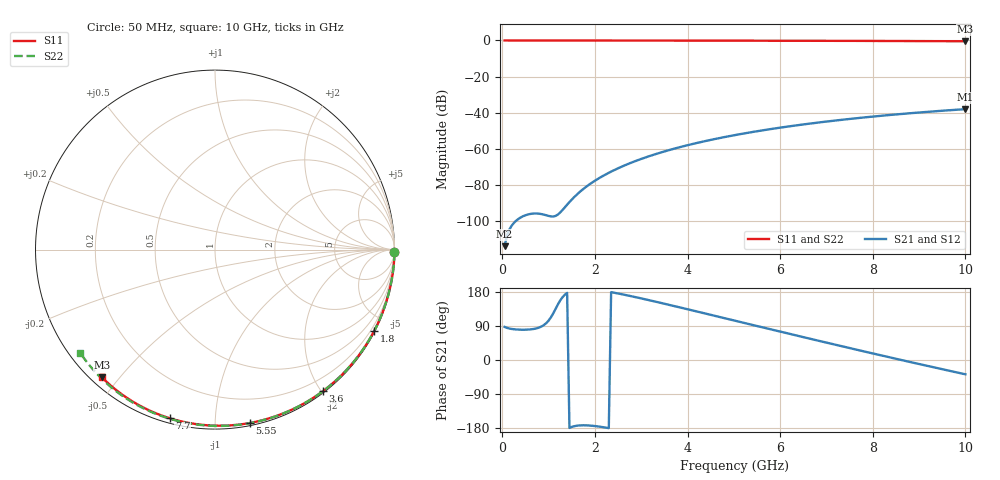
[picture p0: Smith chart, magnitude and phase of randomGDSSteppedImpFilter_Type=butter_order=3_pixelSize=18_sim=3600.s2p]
! freq	dB(S11)	phase(S11)	dB(S12)	phase(S12)
!  dB(S21)	phase(S21)	dB(S22)	phase(S22)
!S-par simulation data
#  GHz  S  DB  R 50
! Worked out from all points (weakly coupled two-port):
!   200 points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, 50 MHz to 10 GHz, reference 50 ohm
!   highest |S21| = -38.10 dB at 10 GHz (marker M1); lowest = -114.1 dB at 50 MHz (marker M2)
!   lowest |S11| = -0.4 dB at 10 GHz (marker M3), VSWR 39.35, Z = 1.53 - j22.5 ohm
!   |S11| at or under -10 dB: nowhere
!   |S22| runs from -0.5 to 0.0 dB; largest |S21 - S12| = 0
!   S11 on the Smith chart (normalised r, x): 50 MHz: open; 1.8 GHz: 0.04, -4.17; 3.6 GHz: 0.02, -2.02; 5.55 GHz: 0.02, -1.22; 7.7 GHz: 0.02, -0.77; 10 GHz: 0.03, -0.45
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0.05  -0.00 -0.8  -114.12 87.3  -114.12 87.3  -0.00 -0.8
0.45  -0.01 -6.8  -97.49 79.9  -97.49 79.9  -0.01 -7.4
0.9  -0.02 -13.6  -96.63 92.4  -96.63 92.4  -0.02 -14.7
1.75  -0.03 -26.2  -82.38 -172.3  -82.38 -172.3  -0.04 -28.3
1.8  -0.03 -26.9  -81.37 -172.4  -81.37 -172.4  -0.04 -29.1
1.85  -0.04 -27.7  -80.42 -172.6  -80.42 -172.6  -0.04 -29.9
1.9  -0.04 -28.4  -79.51 -173.0  -79.51 -173.0  -0.04 -30.7
2.05  -0.04 -30.6  -77.00 -175.0  -77.00 -175.0  -0.04 -33.1
2.25  -0.04 -33.5  -74.08 -178.7  -74.08 -178.7  -0.05 -36.2
2.65  -0.05 -39.3  -69.21 171.9  -69.21 171.9  -0.05 -42.4
3  -0.06 -44.3  -65.72 162.6  -65.72 162.6  -0.06 -47.8
3.4  -0.07 -49.9  -62.33 151.4  -62.33 151.4  -0.07 -53.8
3.6  -0.07 -52.7  -60.83 145.6  -60.83 145.6  -0.08 -56.8
4.3  -0.09 -62.3  -56.29 125.1  -56.29 125.1  -0.09 -67.1
5.05  -0.11 -72.2  -52.37 103.0  -52.37 103.0  -0.12 -77.9
5.55  -0.13 -78.7  -50.15 88.2  -50.15 88.2  -0.14 -84.8
6.1  -0.15 -85.7  -48.00 72.0  -48.00 72.0  -0.16 -92.3
6.7  -0.18 -93.1  -45.93 54.5  -45.93 54.5  -0.19 -100.3
7.7  -0.24 -105.1  -43.00 25.8  -43.00 25.8  -0.26 -113.3
8.35  -0.29 -112.7  -41.39 7.4  -41.39 7.4  -0.31 -121.7
9.2  -0.36 -122.4  -39.56 -16.1  -39.56 -16.1  -0.39 -132.4
10  -0.44 -131.5  -38.10 -37.7  -38.10 -37.7  -0.48 -142.6
